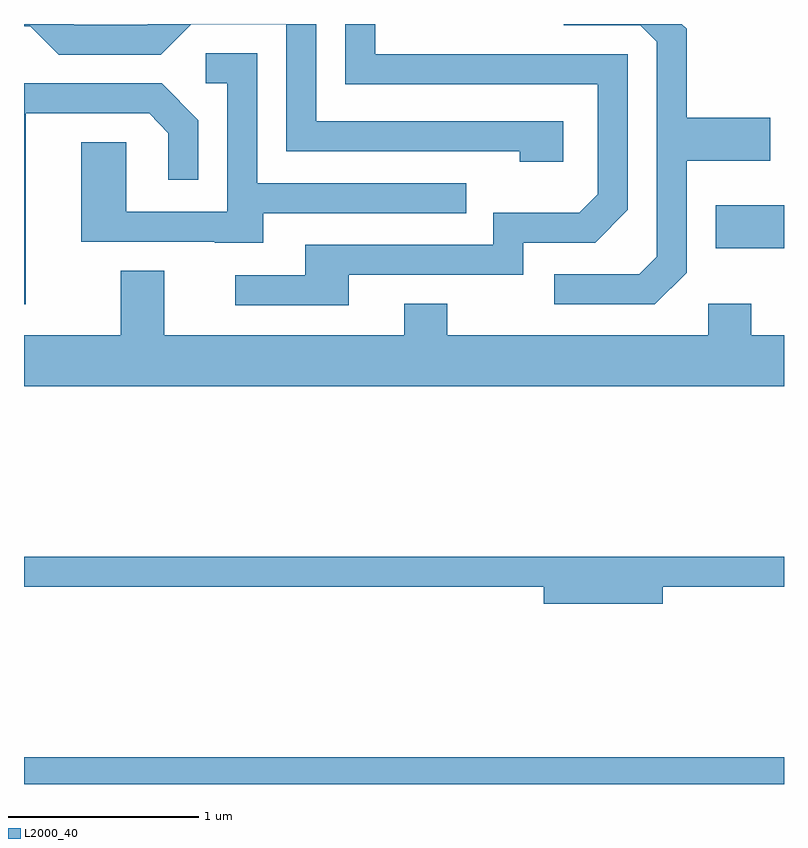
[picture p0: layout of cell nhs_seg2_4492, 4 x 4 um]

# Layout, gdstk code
import gdstk
lib = gdstk.Library(unit=1e-6, precision=1e-09)
def R(c, l, rs):  # rectangles x0, y0, x1, y1
    for r in rs: c.add(gdstk.rectangle(r[:2], r[2:], *l))
def P(c, l, *ps):  # polygons
    for p in ps: c.add(gdstk.Polygon(p, *l))
L2000_40 = (2000, 40)

nhs_seg2_4492 = lib.new_cell('nhs_seg2_4492')
R(nhs_seg2_4492, L2000_40, [(317.611,1021.802,321.611,1021.944), (321.251,1024.621,321.611,1024.849)])
P(nhs_seg2_4492, L2000_40, [(319.319,1024.481),(320.239,1024.481),(320.239,1024.651),(320.617,1024.651),(320.789,1024.824),(320.789,1025.644),(319.459,1025.644),(319.459,1025.802),(319.301,1025.802),(319.301,1025.486),(320.631,1025.486),(320.631,1024.907),(320.534,1024.809),(320.081,1024.809),(320.081,1024.639),(319.091,1024.639),(319.091,1024.479),(318.723,1024.479),(318.723,1024.321),(319.319,1024.321)],
  [(321.099,1024.494),(321.099,1025.081),(321.539,1025.081),(321.539,1025.309),(321.099,1025.309),(321.099,1025.777),(321.074,1025.802),(320.453,1025.802),(320.453,1025.796),(320.854,1025.796),(320.941,1025.709),(320.941,1024.577),(320.849,1024.484),(320.403,1024.484),(320.403,1024.326),(320.932,1024.326)],
  [(320.449,1025.289),(319.149,1025.289),(319.149,1025.802),(318.262,1025.802),(318.259,1025.799),(317.877,1025.799),(317.874,1025.802),(317.611,1025.802),(317.611,1025.791),(317.644,1025.791),(317.794,1025.641),(318.332,1025.641),(318.492,1025.801),(318.991,1025.801),(318.991,1025.131),(320.221,1025.131),(320.221,1025.076),(320.449,1025.076)],
  [(318.869,1024.806),(319.938,1024.806),(319.938,1024.964),(318.839,1024.964),(318.839,1025.649),(318.568,1025.649),(318.568,1025.491),(318.681,1025.491),(318.681,1024.814),(318.149,1024.814),(318.149,1025.179),(317.911,1025.179),(317.911,1024.656),(318.615,1024.656),(318.615,1024.651),(318.869,1024.651)],
  [(317.619,1025.331),(318.269,1025.331),(318.371,1025.228),(318.371,1024.983),(318.529,1024.983),(318.529,1025.296),(318.337,1025.489),(317.611,1025.489),(317.611,1024.326),(317.619,1024.326)],
  [(321.611,1024.164),(321.439,1024.164),(321.439,1024.329),(321.211,1024.329),(321.211,1024.164),(319.839,1024.164),(319.839,1024.329),(319.611,1024.329),(319.611,1024.164),(318.349,1024.164),(318.349,1024.504),(318.121,1024.504),(318.121,1024.164),(317.611,1024.164),(317.611,1023.896),(321.611,1023.896)],
  [(320.974,1022.841),(321.611,1022.841),(321.611,1022.999),(317.611,1022.999),(317.611,1022.841),(320.346,1022.841),(320.346,1022.751),(320.974,1022.751)])

lib.write_gds('nhs_seg2_4492.gds')
